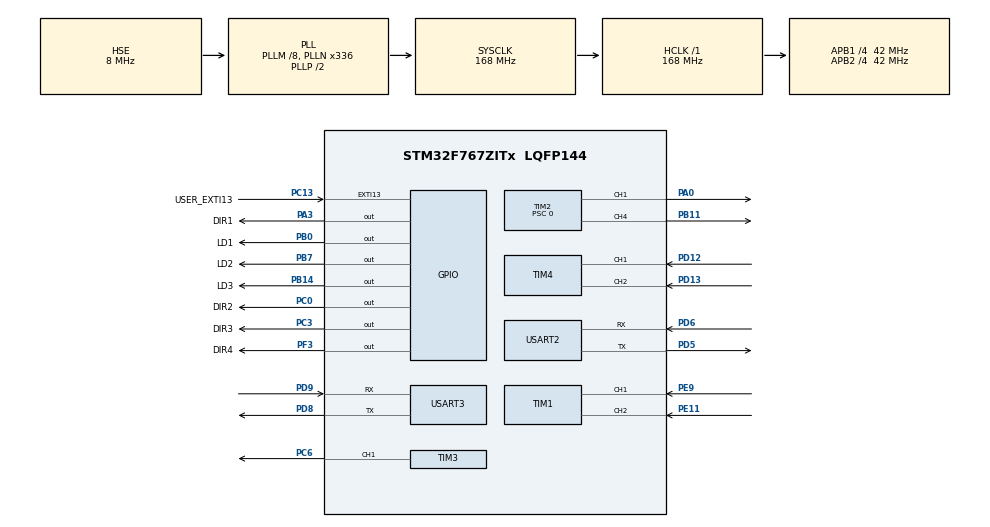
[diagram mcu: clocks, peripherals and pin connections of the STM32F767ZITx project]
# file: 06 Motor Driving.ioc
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CORTEX_M7.default_mode_Activation=1
Mcu.Family=STM32F7
Mcu.Name=STM32F767ZITx
Mcu.Package=LQFP144
NVIC.EXTI15_10_IRQn=true\:0\:0\:false\:true\:true\:1\:true\:true\:true
NVIC.PriorityGroup=NVIC_PRIORITYGROUP_4
NVIC.TIM6_DAC_IRQn=true\:0\:0\:false\:false\:true\:true\:true\:true
NVIC.USART2_IRQn=true\:0\:0\:false\:false\:true\:true\:true\:true
NVIC.USART3_IRQn=true\:0\:0\:false\:false\:true\:true\:true\:true
PA0/WKUP.Signal=S_TIM2_CH1_ETR
PA3.GPIO_Label=DIR1
PA3.Signal=GPIO_Output
PB0.GPIO_Label=LD1
PB0.Signal=GPIO_Output
PB11.Signal=S_TIM2_CH4
PB14.GPIO_Label=LD3
PB14.Signal=GPIO_Output
PB7.GPIO_Label=LD2
PB7.Signal=GPIO_Output
PC0.GPIO_Label=DIR2
PC0.Signal=GPIO_Output
PC13.GPIO_Label=USER_EXTI13
PC13.Signal=GPXTI13
PC3.GPIO_Label=DIR3
PC3.Signal=GPIO_Output
PC6.Signal=S_TIM3_CH1
PD12.Signal=S_TIM4_CH1
PD13.Signal=S_TIM4_CH2
PD5.Mode=Asynchronous
PD5.Signal=USART2_TX
PD6.Mode=Asynchronous
PD6.Signal=USART2_RX
PD8.Mode=Asynchronous
PD8.Signal=USART3_TX
PD9.Mode=Asynchronous
PD9.Signal=USART3_RX
PE11.Signal=S_TIM1_CH2
PE9.Signal=S_TIM1_CH1
PF3.GPIO_Label=DIR4
PF3.Signal=GPIO_Output
PH0/OSC_IN.Mode=HSE-External-Oscillator
PH0/OSC_IN.Signal=RCC_OSC_IN
PH1/OSC_OUT.Mode=HSE-External-Oscillator
PH1/OSC_OUT.Signal=RCC_OSC_OUT
ProjectManager.HeapSize=0x200
ProjectManager.StackSize=0x400
ProjectManager.TargetToolchain=STM32CubeIDE
RCC.AHBFreq_Value=168000000
RCC.APB1CLKDivider=RCC_HCLK_DIV4
RCC.APB1Freq_Value=42000000
RCC.APB1TimFreq_Value=84000000
RCC.APB2CLKDivider=RCC_HCLK_DIV4
RCC.APB2Freq_Value=42000000
RCC.APB2TimFreq_Value=84000000
RCC.CortexFreq_Value=168000000
RCC.HCLKFreq_Value=168000000
RCC.HSE_VALUE=8000000
RCC.HSI_VALUE=16000000
RCC.LSE_VALUE=32768
RCC.PLLM=8
RCC.PLLN=336
RCC.PLLSourceVirtual=RCC_PLLSOURCE_HSE
RCC.SYSCLKFreq_VALUE=168000000
RCC.SYSCLKSource=RCC_SYSCLKSOURCE_PLLCLK
RCC.USBFreq_Value=168000000
RCC.VCOOutputFreq_Value=336000000
SH.S_TIM1_CH1.0=TIM1_CH1,Encoder_Interface
SH.S_TIM1_CH2.0=TIM1_CH2,Encoder_Interface
SH.S_TIM2_CH1_ETR.0=TIM2_CH1,PWM Generation1 CH1
SH.S_TIM2_CH4.0=TIM2_CH4,PWM Generation4 CH4
SH.S_TIM3_CH1.0=TIM3_CH1,PWM Generation1 CH1
SH.S_TIM4_CH1.0=TIM4_CH1,Encoder_Interface
SH.S_TIM4_CH2.0=TIM4_CH2,Encoder_Interface
TIM1.EncoderMode=TIM_ENCODERMODE_TI12
TIM1.IC1Filter=6
TIM1.IC2Filter=6
TIM2.Channel-PWM\ Generation1\ CH1=TIM_CHANNEL_1
TIM2.Channel-PWM\ Generation4\ CH4=TIM_CHANNEL_4
TIM2.Period=4199
TIM2.Prescaler=0
TIM2.Pulse-PWM\ Generation1\ CH1=2099
TIM2.Pulse-PWM\ Generation4\ CH4=2099
TIM3.Channel-PWM\ Generation1\ CH1=TIM_CHANNEL_1
TIM3.Period=999
TIM3.Prescaler=83
TIM3.Pulse-PWM\ Generation1\ CH1=499
TIM4.EncoderMode=TIM_ENCODERMODE_TI12
TIM4.IC1Filter=6
TIM4.IC2Filter=6
TIM6.Period=100-1
TIM6.Prescaler=8400-1
USART2.VirtualMode-Asynchronous=VM_ASYNC
USART3.VirtualMode-Asynchronous=VM_ASYNC
VP_TIM2_VS_ClockSourceINT.Mode=Internal
VP_TIM3_VS_ClockSourceINT.Mode=Internal
VP_TIM6_VS_ClockSourceINT.Mode=Enable_Timer
board=custom

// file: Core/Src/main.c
/* USER CODE BEGIN Header */
/**
  ******************************************************************************
  * @file           : main.c
  * @brief          : Main program body
  ******************************************************************************
  * @attention
  *
  * Copyright (c) 2025 STMicroelectronics.
  * All rights reserved.
  *
  * This software is licensed under terms that can be found in the LICENSE file
  * in the root directory of this software component.
  * If no LICENSE file comes with this software, it is provided AS-IS.
  *
  ******************************************************************************
  */
#include <stdbool.h>
/* USER CODE END Header */
#include "main.h"

/* USER CODE BEGIN Includes */
#include <stdio.h>   // snprintf, sscanf
#include <string.h>  // strlen
/* USER CODE END Includes */

/* USER CODE BEGIN PD */

#define TIM2_PWM_MAX 4199U  // 20kHz @ 84MHz
#define TIM3_PWM_MAX  49U   // 20kHz @ 1MHz (PSC=83)  (브러시를 20kHz로 올릴 경우)
 #define TxBufferSize   (countof(TxBuffer) - 1)
 #define TxBufferSize_10 (countof(TxBuffer_10) - 1)
 #define RxBufferSize   0xFF
 #define countof(a)   (sizeof(a) / sizeof(*(a)))

/* USER CODE END PD */

TIM_HandleTypeDef htim1;
TIM_HandleTypeDef htim2;
TIM_HandleTypeDef htim3;
TIM_HandleTypeDef htim4;
TIM_HandleTypeDef htim6;

UART_HandleTypeDef huart2;
UART_HandleTypeDef huart3;

/* USER CODE BEGIN PV */
char uart_buffer[64];
uint8_t uart_index = 0;
char uart2_buffer[64];
uint8_t uart2_index = 0;

uint8_t uart2_rx_byte = 0;  // ✅ 추가: UART2 인터럽트 수신용 변수

volatile bool stop_requested = false; // 인터럽트 플래그
volatile bool motor_enabled = false;
volatile bool pulse_requested = false;

uint8_t TxBuffer[] = "\n\rUART Ready for communication!!\n\r\n\r";
uint8_t TxBuffer_10[] = "\n\r A Message from HAL_UART_TxCpltCallback() !!\n\r\n\r";
uint8_t RxBuffer[RxBufferSize];

uint16_t current_duty = 0;
GPIO_PinState current_dir = GPIO_PIN_RESET;

void blink_all_leds_twice(void);
void sequential_leds(void);
void driveDualMotor(uint16_t left_duty, GPIO_PinState left_dir,
                    uint16_t right_duty, GPIO_PinState right_dir,
                    uint32_t duration_ms);
#define BRUSH_DIR_PORT GPIOC
#define BRUSH_DIR_PIN  GPIO_PIN_3

#define VACUUM_DIR_PORT GPIOF
#define VACUUM_DIR_PIN  GPIO_PIN_3

#define BRUSH_PWM_CHANNEL TIM_CHANNEL_1  // PC6 (TIM3_CH1)
#define VACUUM_PWM_CHANNEL TIM_CHANNEL_2 // PC7 (TIM3_CH2)

bool extra_motor_on = false;  // USER 버튼으로 on/off 상태 저장

// === Cleaning toggle state (토글 전용) ===
static volatile bool cleaning_toggle_req = false;   // ISR에서 set, 메인루프에서 처리
static bool vacuum_is_on = false;                   // 현재 진공모터 상태
static uint32_t last_clean_toggle_ms = 0;           // 마지막 토글 시각
#define CLEAN_TOGGLE_COOLDOWN_MS 1500               // 연속 토글 최소 간격 (ms)

// --- Slew & Deadband config (모터 2채널 각각 퍼센트 기반) ---
static volatile int g_tgt_pct_L = 0;   // 목표 duty [%] (0~100)
static volatile int g_tgt_pct_R = 0;   // 목표 duty [%]
static volatile GPIO_PinState g_tgt_dir_L = GPIO_PIN_RESET; // 목표 방향
static volatile GPIO_PinState g_tgt_dir_R = GPIO_PIN_RESET;

static volatile int g_cur_pct_L = 0;   // 현재 적용된 duty [%]
static volatile int g_cur_pct_R = 0;
static volatile GPIO_PinState g_cur_dir_L = GPIO_PIN_RESET; // 현재 방향
static volatile GPIO_PinState g_cur_dir_R = GPIO_PIN_RESET;

// 데드밴드: 이 값 미만은 0으로 처리(정지). 필요시 전/후진 분리 가능.
#define DEAD_MIN_PCT  0      // 예: 8% 미만은 힘이 안 실리는 영역

// 슬루(변화율) 제한: 한 틱(10ms)마다 변화 가능한 최대 퍼센트
#define SLEW_PCT_PER_TICK  100 // 예: 2%/tick → 200ms에 40% 변화

// 내부용: % → CCR 변환
static inline uint16_t pct_to_ccr_tim2(int pct){
  if(pct<0)pct=0; if(pct>100)pct=100;
  return (uint16_t)((TIM2_PWM_MAX * pct)/100);
}
/* USER CODE END PV */

void SystemClock_Config(void);
static void MPU_Config(void);
static void MX_GPIO_Init(void);
static void MX_TIM2_Init(void);
static void MX_USART3_UART_Init(void);
static void MX_USART2_UART_Init(void);
static void MX_TIM3_Init(void);
static void MX_TIM1_Init(void);
static void MX_TIM4_Init(void);
static void MX_TIM6_Init(void);
static void MX_NVIC_Init(void);
/* USER CODE BEGIN PFP */

static void toggleCleaningSystem(void);
void set_motor_targets(int pctL, GPIO_PinState dirL, int pctR, GPIO_PinState dirR);
static int apply_deadband(int pct);
static void slew_step(void);  // 10ms마다 한 스텝씩 현재값을 목표로 이동
static void apply_to_timer_ccr_from_current(void);

/* USER CODE END PFP */

/* USER CODE BEGIN 0 */

// 데드밴드 적용: DEAD_MIN_PCT 미만 → 0
static int apply_deadband(int pct){
  if (pct < DEAD_MIN_PCT) return 0;
  if (pct > 100) pct = 100;
  if (pct < 0) pct = 0;
  return pct;
}

// 라즈베리파이 명령 → 목표 저장 (즉시 타이머에 쓰지 않음)
void set_motor_targets(int pctL, GPIO_PinState dirL, int pctR, GPIO_PinState dirR)
{
  if (pctL < 0) pctL = 0; if (pctL > 100) pctL = 100;
  if (pctR < 0) pctR = 0; if (pctR > 100) pctR = 100;

  g_tgt_pct_L  = pctL;
  g_tgt_pct_R  = pctR;
  g_tgt_dir_L  = dirL;
  g_tgt_dir_R  = dirR;
}

// 한 틱(10ms)마다 현재[%]를 목표[%]로 이동 (슬루 제한 + 데드밴드)
static void slew_step(void)
{
  // 방향 변화가 있으면, 먼저 현재 듀티를 0으로 내려 안전하게 방향 전환
  if (g_cur_dir_L != g_tgt_dir_L && g_cur_pct_L > 0) {
    int dec = (g_cur_pct_L > SLEW_PCT_PER_TICK) ? SLEW_PCT_PER_TICK : g_cur_pct_L;
    g_cur_pct_L -= dec;
  } else {
    // 동일 방향: 목표로 접근
    int deltaL = g_tgt_pct_L - g_cur_pct_L;
    if      (deltaL >  SLEW_PCT_PER_TICK) g_cur_pct_L += SLEW_PCT_PER_TICK;
    else if (deltaL < -SLEW_PCT_PER_TICK) g_cur_pct_L -= SLEW_PCT_PER_TICK;
    else                                  g_cur_pct_L  = g_tgt_pct_L;
    // 방향 동기
    if (g_cur_pct_L == 0) g_cur_dir_L = g_tgt_dir_L;
    else                  g_cur_dir_L = g_tgt_dir_L;
  }

  if (g_cur_dir_R != g_tgt_dir_R && g_cur_pct_R > 0) {
    int dec = (g_cur_pct_R > SLEW_PCT_PER_TICK) ? SLEW_PCT_PER_TICK : g_cur_pct_R;
    g_cur_pct_R -= dec;
  } else {
    int deltaR = g_tgt_pct_R - g_cur_pct_R;
    if      (deltaR >  SLEW_PCT_PER_TICK) g_cur_pct_R += SLEW_PCT_PER_TICK;
    else if (deltaR < -SLEW_PCT_PER_TICK) g_cur_pct_R -= SLEW_PCT_PER_TICK;
    else                                  g_cur_pct_R  = g_tgt_pct_R;
    if (g_cur_pct_R == 0) g_cur_dir_R = g_tgt_dir_R;
    else                  g_cur_dir_R = g_tgt_dir_R;
  }

  // 데드밴드 보정
  g_cur_pct_L = apply_deadband(g_cur_pct_L);
  g_cur_pct_R = apply_deadband(g_cur_pct_R);
}

// 현재[%]와 방향을 실제 타이머 CCR/핀에 반영
static void apply_to_timer_ccr_from_current(void)
{
  // 방향핀
	HAL_GPIO_WritePin(DIR1_GPIO_Port, DIR1_Pin, !g_cur_dir_L); // Left DIR
	HAL_GPIO_WritePin(DIR2_GPIO_Port, DIR2_Pin, !g_cur_dir_R); // Right DIR

  // CCR
  __HAL_TIM_SET_COMPARE(&htim2, TIM_CHANNEL_1, pct_to_ccr_tim2(g_cur_pct_L));
  __HAL_TIM_SET_COMPARE(&htim2, TIM_CHANNEL_4, pct_to_ccr_tim2(g_cur_pct_R));
}

// 퍼센트 기반 블로킹 구동: 목표 설정 후 duration_ms 기다림
static void driveDualMotorPct(int pctL, GPIO_PinState dirL,
                              int pctR, GPIO_PinState dirR,
                              uint32_t duration_ms)
{
  set_motor_targets(pctL, dirL, pctR, dirR);
  uint32_t t0 = HAL_GetTick();
  while ((HAL_GetTick() - t0) < duration_ms) {
    if (stop_requested) break;
    HAL_Delay(5);
  }
  // 필요시 정지:
  // set_motor_targets(0, dirL, 0, dirR);
}
/* USER CODE END 0 */

int main(void)
{

  /* MPU Configuration--------------------------------------------------------*/
  MPU_Config();

  /* MCU Configuration--------------------------------------------------------*/

  /* Reset of all peripherals, Initializes the Flash interface and the Systick. */
  HAL_Init();

  /* Configure the system clock */
  SystemClock_Config();

  /* Initialize all configured peripherals */
  MX_GPIO_Init();
  MX_TIM2_Init();
  MX_USART3_UART_Init();
  MX_USART2_UART_Init();
  MX_TIM3_Init();
  MX_TIM1_Init();
  MX_TIM4_Init();
  MX_TIM6_Init();

  /* Initialize interrupts */
  MX_NVIC_Init();
  /* USER CODE BEGIN 2 */
  HAL_UART_Transmit(&huart3, (uint8_t*)"OK\r\n", 4, 100);

  // UART2 통신 확인 (라즈베리파이 ↔ STM32)
  HAL_UART_Transmit(&huart3, (uint8_t*)"UART2 RX echo mode start...\r\n", 30, 100);

  uint32_t last_tx_time = HAL_GetTick();

  // 기존 UART3 메시지 전송
  HAL_UART_Transmit(&huart3, (uint8_t*)TxBuffer, TxBufferSize , 0xFFFF);

  // PWM 초기화
  __HAL_TIM_SET_COMPARE(&htim2, TIM_CHANNEL_1, 0);
  __HAL_TIM_SET_COMPARE(&htim2, TIM_CHANNEL_4, 0);
  __HAL_TIM_SET_COMPARE(&htim3, TIM_CHANNEL_1, 0);  // PC6 - 브러쉬
  HAL_TIM_PWM_Start(&htim2, TIM_CHANNEL_1);
  HAL_TIM_PWM_Start(&htim2, TIM_CHANNEL_4);
  HAL_TIM_PWM_Start(&htim3, TIM_CHANNEL_1); // PC6

  // UART2 인터럽트 수신 시작
  HAL_UART_Receive_IT(&huart2, &uart2_rx_byte, 1);
  // UART3 수신 인터럽트 시작 (유지)
  HAL_UART_Receive_IT(&huart3, RxBuffer, 1);

  HAL_TIM_Base_Start_IT(&htim6);

  HAL_NVIC_SetPriority(TIM6_DAC_IRQn, 1, 0);
  HAL_NVIC_EnableIRQ(TIM6_DAC_IRQn);

  /* USER CODE END 2 */

  /* Infinite loop */
  while (1)
  {

    /* USER CODE BEGIN 3 */

	 	      // UART2 TX 송신 처리 (STM32 → 라즈베리파이)
	 	      if (HAL_GetTick() - last_tx_time >= 1000)  // 1초마다
	 	      {
	 	          const char* msg = "STM32 TX Test\r\n";
	 	          HAL_UART_Transmit(&huart2, (uint8_t*)msg, strlen(msg), 100);
	 	          //HAL_UART_Transmit(&huart3, (uint8_t*)"UART2 TX sent\r\n", 16, 100);  // 디버깅 출력
	 	          last_tx_time = HAL_GetTick();  // 타이머 갱신
	 	      }

	 	      sequential_leds();  // LED 점멸
	 	     // 청소 토글 요청 처리 (있을 때만 1회 실행)
	 	     if (cleaning_toggle_req) {
	 	    	cleaning_toggle_req = false;
	 	    	toggleCleaningSystem();
	 	     }
	 	     if (pulse_requested)
	 	     {
	 	         pulse_requested = false;
	 	         HAL_GPIO_WritePin(DIR4_GPIO_Port, DIR4_Pin, GPIO_PIN_SET);
	 	         HAL_Delay(100);  // 충분한 딱딱 지속 시간
	 	         HAL_GPIO_WritePin(DIR4_GPIO_Port, DIR4_Pin, GPIO_PIN_RESET);
	 	     }

	 	      if (stop_requested)
	 	      {
	 	          slowStopMotor(current_duty, current_dir);
	 	          stop_requested = false;
	 	      }

	 	     if (motor_enabled && !stop_requested)
	 	     {
	 	    	HAL_TIM_PWM_Start(&htim2, TIM_CHANNEL_1);
	 	    	HAL_TIM_PWM_Start(&htim2, TIM_CHANNEL_4);

	 	    	HAL_Delay(50);

	 	    	/*
	 	    	// [1] 전진 가속 테스트 (0% → 30%)
	 	    	for (int pct = 0; pct <= 30; pct += 5) {
	 	    	    driveDualMotorPct(pct, GPIO_PIN_SET,   // 왼쪽 전진
	 	    	                      pct, GPIO_PIN_SET,   // 오른쪽 전진
	 	    	                      500);
	 	    	}

	 	    	// [2] 좌/우 곡선 주행 (60% vs 15%)
	 	    	driveDualMotorPct(60, GPIO_PIN_SET,  // 좌 60%
	 	    	                  15, GPIO_PIN_SET,  // 우 15%  → 좌로 커브
	 	    	                  2000);
	 	    	driveDualMotorPct(15, GPIO_PIN_SET,  // 좌 15%
	 	    	                  60, GPIO_PIN_SET,  // 우 60%  → 우로 커브
	 	    	                  2000);

	 	    	// [3] 전진 증가/감소 (0→30→0%)
	 	    	for (int pct = 0; pct <= 30; pct += 10) {
	 	    	    driveDualMotorPct(pct, GPIO_PIN_SET,
	 	    	                      pct, GPIO_PIN_SET,
	 	    	                      1000);
	 	    	}
	 	    	for (int pct = 20; pct >= 0; pct -= 10) {
	 	    	    driveDualMotorPct(pct, GPIO_PIN_SET,
	 	    	                      pct, GPIO_PIN_SET,
	 	    	                      500);
	 	    	}

	 	    	HAL_Delay(1000);

	 	    	// [4] 후진 증가/감소 (0→30→0%)
	 	    	for (int pct = 0; pct <= 30; pct += 10) {
	 	    	    driveDualMotorPct(pct, GPIO_PIN_RESET,   // 후진
	 	    	                      pct, GPIO_PIN_RESET,
	 	    	                      500);
	 	    	}
	 	    	for (int pct = 20; pct >= 0; pct -= 10) {
	 	    	    driveDualMotorPct(pct, GPIO_PIN_RESET,
	 	    	                      pct, GPIO_PIN_RESET,
	 	    	                      250);
	 	    	}

	 	    	// [5] 완전 정지
	 	    	driveDualMotorPct(0, GPIO_PIN_SET,
	 	    	                  0, GPIO_PIN_SET,
	 	    	                  1000);

	 	    	// [6] 제자리 회전(반시계) : 좌 후진 / 우 전진
	 	    	for (int pct = 0; pct <= 30; pct += 10) {
	 	    	    driveDualMotorPct(pct, GPIO_PIN_RESET,   // 좌 후진
	 	    	                      pct, GPIO_PIN_SET,     // 우 전진
	 	    	                      1000);
	 	    	}
	 	    	driveDualMotorPct(40, GPIO_PIN_RESET,
	 	    	                  40, GPIO_PIN_SET,
	 	    	                  5000);
	 	    	for (int pct = 30; pct >= 0; pct -= 10) {
	 	    	    driveDualMotorPct(pct, GPIO_PIN_RESET,
	 	    	                      pct, GPIO_PIN_SET,
	 	    	                      500);
	 	    	}

	 	    	HAL_Delay(1000);

	 	    	// [7] 제자리 회전(시계) : 좌 전진 / 우 후진
	 	    	for (int pct = 0; pct <= 30; pct += 10) {
	 	    	    driveDualMotorPct(pct, GPIO_PIN_SET,     // 좌 전진
	 	    	                      pct, GPIO_PIN_RESET,   // 우 후진
	 	    	                      500);
	 	    	}
	 	    	driveDualMotorPct(50, GPIO_PIN_SET,
	 	    	                  50, GPIO_PIN_RESET,
	 	    	                  5000);
	 	    	for (int pct = 40; pct >= 0; pct -= 10) {
	 	    	    driveDualMotorPct(pct, GPIO_PIN_SET,
	 	    	                      pct, GPIO_PIN_RESET,
	 	    	                      250);
	 	    	}

	 	    	// [8] 완전 정지
	 	    	driveDualMotorPct(0, GPIO_PIN_SET,
	 	    	                  0, GPIO_PIN_SET,
	 	    	                  1000);
 */
	 	    	// [9] 원(반시계) (좌 느린 후진 / 우 빠른 전진)
	 	    	for (int left = 20; left <= 30; left += 2) {
	 	    	    for (int i = 0; i < 5; i++) {
	 	    	        driveDualMotorPct(left, GPIO_PIN_SET,   // 좌 전진 left%
	 	    	                          35,   GPIO_PIN_SET,   // 우 전진 35%
	 	    	                          3000);
	 	    	    }
	 	    	    driveDualMotorPct(0, GPIO_PIN_SET, 0, GPIO_PIN_SET, 500); // 정지 유지
	 	    	}

	 	    	// [10] 정지 유지
	 	    	driveDualMotorPct(0, GPIO_PIN_SET,
	 	    	                  0, GPIO_PIN_SET,
	 	    	                  1000);

	 	     }
	 	      else
	 	      {
	 	          HAL_Delay(100);
	 	      }

  }
  /* USER CODE END 3 */
}

void SystemClock_Config(void)
{
  RCC_OscInitTypeDef RCC_OscInitStruct = {0};
  RCC_ClkInitTypeDef RCC_ClkInitStruct = {0};

  /** Configure the main internal regulator output voltage
  */
  __HAL_RCC_PWR_CLK_ENABLE();
  __HAL_PWR_VOLTAGESCALING_CONFIG(PWR_REGULATOR_VOLTAGE_SCALE2);

  /** Initializes the RCC Oscillators according to the specified parameters
  * in the RCC_OscInitTypeDef structure.
  */
  RCC_OscInitStruct.OscillatorType = RCC_OSCILLATORTYPE_HSE;
  RCC_OscInitStruct.HSEState = RCC_HSE_ON;
  RCC_OscInitStruct.PLL.PLLState = RCC_PLL_ON;
  RCC_OscInitStruct.PLL.PLLSource = RCC_PLLSOURCE_HSE;
  RCC_OscInitStruct.PLL.PLLM = 8;
  RCC_OscInitStruct.PLL.PLLN = 336;
  RCC_OscInitStruct.PLL.PLLP = RCC_PLLP_DIV2;
  RCC_OscInitStruct.PLL.PLLQ = 2;
  RCC_OscInitStruct.PLL.PLLR = 2;
  if (HAL_RCC_OscConfig(&RCC_OscInitStruct) != HAL_OK)
  {
    Error_Handler();
  }

  /** Initializes the CPU, AHB and APB buses clocks
  */
  RCC_ClkInitStruct.ClockType = RCC_CLOCKTYPE_HCLK|RCC_CLOCKTYPE_SYSCLK
                              |RCC_CLOCKTYPE_PCLK1|RCC_CLOCKTYPE_PCLK2;
  RCC_ClkInitStruct.SYSCLKSource = RCC_SYSCLKSOURCE_PLLCLK;
  RCC_ClkInitStruct.AHBCLKDivider = RCC_SYSCLK_DIV1;
  RCC_ClkInitStruct.APB1CLKDivider = RCC_HCLK_DIV4;
  RCC_ClkInitStruct.APB2CLKDivider = RCC_HCLK_DIV4;

  if (HAL_RCC_ClockConfig(&RCC_ClkInitStruct, FLASH_LATENCY_5) != HAL_OK)
  {
    Error_Handler();
  }
}

/**
  * @brief NVIC Configuration.
  * @retval None
  */
static void MX_NVIC_Init(void)
{
  /* EXTI15_10_IRQn interrupt configuration */
  HAL_NVIC_SetPriority(EXTI15_10_IRQn, 0, 0);
  HAL_NVIC_EnableIRQ(EXTI15_10_IRQn);
}

static void MX_TIM1_Init(void)
{

  TIM_Encoder_InitTypeDef sConfig = {0};
  TIM_MasterConfigTypeDef sMasterConfig = {0};

  htim1.Instance = TIM1;
  htim1.Init.Prescaler = 0;
  htim1.Init.CounterMode = TIM_COUNTERMODE_UP;
  htim1.Init.Period = 65535;
  htim1.Init.ClockDivision = TIM_CLOCKDIVISION_DIV1;
  htim1.Init.RepetitionCounter = 0;
  htim1.Init.AutoReloadPreload = TIM_AUTORELOAD_PRELOAD_DISABLE;
  sConfig.EncoderMode = TIM_ENCODERMODE_TI12;
  sConfig.IC1Polarity = TIM_ICPOLARITY_RISING;
  sConfig.IC1Selection = TIM_ICSELECTION_DIRECTTI;
  sConfig.IC1Prescaler = TIM_ICPSC_DIV1;
  sConfig.IC1Filter = 6;
  sConfig.IC2Polarity = TIM_ICPOLARITY_RISING;
  sConfig.IC2Selection = TIM_ICSELECTION_DIRECTTI;
  sConfig.IC2Prescaler = TIM_ICPSC_DIV1;
  sConfig.IC2Filter = 6;
  if (HAL_TIM_Encoder_Init(&htim1, &sConfig) != HAL_OK)
  {
    Error_Handler();
  }
  sMasterConfig.MasterOutputTrigger = TIM_TRGO_RESET;
  sMasterConfig.MasterOutputTrigger2 = TIM_TRGO2_RESET;
  sMasterConfig.MasterSlaveMode = TIM_MASTERSLAVEMODE_DISABLE;
  if (HAL_TIMEx_MasterConfigSynchronization(&htim1, &sMasterConfig) != HAL_OK)
  {
    Error_Handler();
  }

}

static void MX_TIM2_Init(void)
{

  TIM_ClockConfigTypeDef sClockSourceConfig = {0};
  TIM_MasterConfigTypeDef sMasterConfig = {0};
  TIM_OC_InitTypeDef sConfigOC = {0};

  htim2.Instance = TIM2;
  htim2.Init.Prescaler = 0;
  htim2.Init.CounterMode = TIM_COUNTERMODE_UP;
  htim2.Init.Period = 4199;
  htim2.Init.ClockDivision = TIM_CLOCKDIVISION_DIV1;
  htim2.Init.AutoReloadPreload = TIM_AUTORELOAD_PRELOAD_DISABLE;
  if (HAL_TIM_Base_Init(&htim2) != HAL_OK)
  {
    Error_Handler();
  }
  sClockSourceConfig.ClockSource = TIM_CLOCKSOURCE_INTERNAL;
  if (HAL_TIM_ConfigClockSource(&htim2, &sClockSourceConfig) != HAL_OK)
  {
    Error_Handler();
  }
  if (HAL_TIM_PWM_Init(&htim2) != HAL_OK)
  {
    Error_Handler();
  }
  sMasterConfig.MasterOutputTrigger = TIM_TRGO_RESET;
  sMasterConfig.MasterSlaveMode = TIM_MASTERSLAVEMODE_DISABLE;
  if (HAL_TIMEx_MasterConfigSynchronization(&htim2, &sMasterConfig) != HAL_OK)
  {
    Error_Handler();
  }
  sConfigOC.OCMode = TIM_OCMODE_PWM1;
  sConfigOC.Pulse = 2099;
  sConfigOC.OCPolarity = TIM_OCPOLARITY_HIGH;
  sConfigOC.OCFastMode = TIM_OCFAST_DISABLE;
  if (HAL_TIM_PWM_ConfigChannel(&htim2, &sConfigOC, TIM_CHANNEL_1) != HAL_OK)
  {
    Error_Handler();
  }
  if (HAL_TIM_PWM_ConfigChannel(&htim2, &sConfigOC, TIM_CHANNEL_4) != HAL_OK)
  {
    Error_Handler();
  }
  HAL_TIM_MspPostInit(&htim2);

}

static void MX_TIM3_Init(void)
{

  TIM_ClockConfigTypeDef sClockSourceConfig = {0};
  TIM_MasterConfigTypeDef sMasterConfig = {0};
  TIM_OC_InitTypeDef sConfigOC = {0};

  htim3.Instance = TIM3;
  htim3.Init.Prescaler = 83;
  htim3.Init.CounterMode = TIM_COUNTERMODE_UP;
  htim3.Init.Period = 999;
  htim3.Init.ClockDivision = TIM_CLOCKDIVISION_DIV1;
  htim3.Init.AutoReloadPreload = TIM_AUTORELOAD_PRELOAD_DISABLE;
  if (HAL_TIM_Base_Init(&htim3) != HAL_OK)
  {
    Error_Handler();
  }
  sClockSourceConfig.ClockSource = TIM_CLOCKSOURCE_INTERNAL;
  if (HAL_TIM_ConfigClockSource(&htim3, &sClockSourceConfig) != HAL_OK)
  {
    Error_Handler();
  }
  if (HAL_TIM_PWM_Init(&htim3) != HAL_OK)
  {
    Error_Handler();
  }
  sMasterConfig.MasterOutputTrigger = TIM_TRGO_RESET;
  sMasterConfig.MasterSlaveMode = TIM_MASTERSLAVEMODE_DISABLE;
  if (HAL_TIMEx_MasterConfigSynchronization(&htim3, &sMasterConfig) != HAL_OK)
  {
    Error_Handler();
  }
  sConfigOC.OCMode = TIM_OCMODE_PWM1;
  sConfigOC.Pulse = 499;
  sConfigOC.OCPolarity = TIM_OCPOLARITY_HIGH;
  sConfigOC.OCFastMode = TIM_OCFAST_DISABLE;
  if (HAL_TIM_PWM_ConfigChannel(&htim3, &sConfigOC, TIM_CHANNEL_1) != HAL_OK)
  {
    Error_Handler();
  }
  HAL_TIM_MspPostInit(&htim3);

}

static void MX_TIM4_Init(void)
{

  TIM_Encoder_InitTypeDef sConfig = {0};
  TIM_MasterConfigTypeDef sMasterConfig = {0};

  htim4.Instance = TIM4;
  htim4.Init.Prescaler = 0;
  htim4.Init.CounterMode = TIM_COUNTERMODE_UP;
  htim4.Init.Period = 65535;
  htim4.Init.ClockDivision = TIM_CLOCKDIVISION_DIV1;
  htim4.Init.AutoReloadPreload = TIM_AUTORELOAD_PRELOAD_DISABLE;
  sConfig.EncoderMode = TIM_ENCODERMODE_TI12;
  sConfig.IC1Polarity = TIM_ICPOLARITY_RISING;
  sConfig.IC1Selection = TIM_ICSELECTION_DIRECTTI;
  sConfig.IC1Prescaler = TIM_ICPSC_DIV1;
  sConfig.IC1Filter = 6;
  sConfig.IC2Polarity = TIM_ICPOLARITY_RISING;
  sConfig.IC2Selection = TIM_ICSELECTION_DIRECTTI;
  sConfig.IC2Prescaler = TIM_ICPSC_DIV1;
  sConfig.IC2Filter = 6;
  if (HAL_TIM_Encoder_Init(&htim4, &sConfig) != HAL_OK)
  {
    Error_Handler();
  }
  sMasterConfig.MasterOutputTrigger = TIM_TRGO_RESET;
  sMasterConfig.MasterSlaveMode = TIM_MASTERSLAVEMODE_DISABLE;
  if (HAL_TIMEx_MasterConfigSynchronization(&htim4, &sMasterConfig) != HAL_OK)
  {
    Error_Handler();
  }

}

static void MX_TIM6_Init(void)
{

  TIM_MasterConfigTypeDef sMasterConfig = {0};

  htim6.Instance = TIM6;
  htim6.Init.Prescaler = 8400-1;
  htim6.Init.CounterMode = TIM_COUNTERMODE_UP;
  htim6.Init.Period = 100-1;
  htim6.Init.AutoReloadPreload = TIM_AUTORELOAD_PRELOAD_DISABLE;
  if (HAL_TIM_Base_Init(&htim6) != HAL_OK)
  {
    Error_Handler();
  }
  sMasterConfig.MasterOutputTrigger = TIM_TRGO_RESET;
  sMasterConfig.MasterSlaveMode = TIM_MASTERSLAVEMODE_DISABLE;
  if (HAL_TIMEx_MasterConfigSynchronization(&htim6, &sMasterConfig) != HAL_OK)
  {
    Error_Handler();
  }

}

static void MX_USART2_UART_Init(void)
{

  huart2.Instance = USART2;
  huart2.Init.BaudRate = 115200;
  huart2.Init.WordLength = UART_WORDLENGTH_8B;
  huart2.Init.StopBits = UART_STOPBITS_1;
  huart2.Init.Parity = UART_PARITY_NONE;
  huart2.Init.Mode = UART_MODE_TX_RX;
  huart2.Init.HwFlowCtl = UART_HWCONTROL_NONE;
  huart2.Init.OverSampling = UART_OVERSAMPLING_16;
  huart2.Init.OneBitSampling = UART_ONE_BIT_SAMPLE_DISABLE;
  huart2.AdvancedInit.AdvFeatureInit = UART_ADVFEATURE_NO_INIT;
  if (HAL_UART_Init(&huart2) != HAL_OK)
  {
    Error_Handler();
  }

}

static void MX_USART3_UART_Init(void)
{

  huart3.Instance = USART3;
  huart3.Init.BaudRate = 115200;
  huart3.Init.WordLength = UART_WORDLENGTH_8B;
  huart3.Init.StopBits = UART_STOPBITS_1;
  huart3.Init.Parity = UART_PARITY_NONE;
  huart3.Init.Mode = UART_MODE_TX_RX;
  huart3.Init.HwFlowCtl = UART_HWCONTROL_NONE;
  huart3.Init.OverSampling = UART_OVERSAMPLING_16;
  huart3.Init.OneBitSampling = UART_ONE_BIT_SAMPLE_DISABLE;
  huart3.AdvancedInit.AdvFeatureInit = UART_ADVFEATURE_NO_INIT;
  if (HAL_UART_Init(&huart3) != HAL_OK)
  {
    Error_Handler();
  }

}

static void MX_GPIO_Init(void)
{
  GPIO_InitTypeDef GPIO_InitStruct = {0};

  /* GPIO Ports Clock Enable */
  __HAL_RCC_GPIOC_CLK_ENABLE();
  __HAL_RCC_GPIOF_CLK_ENABLE();
  __HAL_RCC_GPIOH_CLK_ENABLE();
  __HAL_RCC_GPIOA_CLK_ENABLE();
  __HAL_RCC_GPIOB_CLK_ENABLE();
  __HAL_RCC_GPIOE_CLK_ENABLE();
  __HAL_RCC_GPIOD_CLK_ENABLE();

  /*Configure GPIO pin Output Level */
  HAL_GPIO_WritePin(DIR4_GPIO_Port, DIR4_Pin, GPIO_PIN_RESET);

  /*Configure GPIO pin Output Level */
  HAL_GPIO_WritePin(GPIOC, DIR2_Pin|DIR3_Pin, GPIO_PIN_RESET);

  /*Configure GPIO pin Output Level */
  HAL_GPIO_WritePin(DIR1_GPIO_Port, DIR1_Pin, GPIO_PIN_RESET);

  /*Configure GPIO pin Output Level */
  HAL_GPIO_WritePin(GPIOB, LD1_Pin|LD3_Pin|LD2_Pin, GPIO_PIN_RESET);

  /*Configure GPIO pin : USER_EXTI13_Pin */
  GPIO_InitStruct.Pin = USER_EXTI13_Pin;
  GPIO_InitStruct.Mode = GPIO_MODE_IT_RISING;
  GPIO_InitStruct.Pull = GPIO_NOPULL;
  HAL_GPIO_Init(USER_EXTI13_GPIO_Port, &GPIO_InitStruct);

  /*Configure GPIO pin : DIR4_Pin */
  GPIO_InitStruct.Pin = DIR4_Pin;
  GPIO_InitStruct.Mode = GPIO_MODE_OUTPUT_PP;
  GPIO_InitStruct.Pull = GPIO_NOPULL;
  GPIO_InitStruct.Speed = GPIO_SPEED_FREQ_LOW;
  HAL_GPIO_Init(DIR4_GPIO_Port, &GPIO_InitStruct);

  /*Configure GPIO pins : DIR2_Pin DIR3_Pin */
  GPIO_InitStruct.Pin = DIR2_Pin|DIR3_Pin;
  GPIO_InitStruct.Mode = GPIO_MODE_OUTPUT_PP;
  GPIO_InitStruct.Pull = GPIO_NOPULL;
  GPIO_InitStruct.Speed = GPIO_SPEED_FREQ_LOW;
  HAL_GPIO_Init(GPIOC, &GPIO_InitStruct);

  /*Configure GPIO pin : DIR1_Pin */
  GPIO_InitStruct.Pin = DIR1_Pin;
  GPIO_InitStruct.Mode = GPIO_MODE_OUTPUT_PP;
  GPIO_InitStruct.Pull = GPIO_NOPULL;
  GPIO_InitStruct.Speed = GPIO_SPEED_FREQ_LOW;
  HAL_GPIO_Init(DIR1_GPIO_Port, &GPIO_InitStruct);

  /*Configure GPIO pins : LD1_Pin LD3_Pin LD2_Pin */
  GPIO_InitStruct.Pin = LD1_Pin|LD3_Pin|LD2_Pin;
  GPIO_InitStruct.Mode = GPIO_MODE_OUTPUT_PP;
  GPIO_InitStruct.Pull = GPIO_NOPULL;
  GPIO_InitStruct.Speed = GPIO_SPEED_FREQ_LOW;
  HAL_GPIO_Init(GPIOB, &GPIO_InitStruct);

}

/* USER CODE BEGIN 4 */
void HAL_UART_TxCpltCallback(UART_HandleTypeDef *UartHandler)
 {
 HAL_UART_Transmit(UartHandler, (uint8_t*)TxBuffer_10, TxBufferSize_10 , 0xFFFF);
 }

void HAL_UART_RxCpltCallback(UART_HandleTypeDef *huart)
{
    if (huart->Instance == USART2)
    {
        // ✅ 항상 제일 먼저 다음 수신 예약
        HAL_UART_Receive_IT(&huart2, &uart2_rx_byte, 1);

        // ✅ 오버런 오류 확인
        if (__HAL_UART_GET_FLAG(&huart2, UART_FLAG_ORE)) {
            HAL_UART_Transmit(&huart3, (uint8_t*)"USART2 ORE ERROR\r\n", 19, 100);
            __HAL_UART_CLEAR_OREFLAG(&huart2);
        }

        // 수신 버퍼에 저장
        if (uart2_index < sizeof(uart2_buffer) - 1)
        {
            uart2_buffer[uart2_index++] = uart2_rx_byte;
        }

        // 개행 문자 수신 시 파싱 시도
        if (uart2_rx_byte == '\r' || uart2_rx_byte == '\n')
        {
            uart2_buffer[uart2_index] = '\0';

            int d1, p1, d2, p2, clean_flag;
            if (sscanf((char*)uart2_buffer, "%d,%d,%d,%d,%d", &d1, &p1, &d2, &p2, &clean_flag) == 5)
            {
                // 0~500 → 0~100%
                if (p1 < 0) p1 = 0; if (p1 > 500) p1 = 500;
                if (p2 < 0) p2 = 0; if (p2 > 500) p2 = 500;

                int pctL = (p1 * 100) / 500;
                int pctR = (p2 * 100) / 500;

                set_motor_targets(
                    pctL, (d1 ? GPIO_PIN_SET : GPIO_PIN_RESET),
                    pctR, (d2 ? GPIO_PIN_SET : GPIO_PIN_RESET)
                );

                // ✅ 변경된 규칙: 1이면 토글 요청, 0이면 무반응
                if (clean_flag == 1) {
                    cleaning_toggle_req = true;   // 실제 하드웨어 조작은 메인 루프에서
                }

                // 디버그 (원하면 유지)
                char debug[96];
                snprintf(debug, sizeof(debug),
                         "UART2 OK d1=%d p1=%d(%d%%)  d2=%d p2=%d(%d%%)  clean=%d\r\n",
                         d1, p1, pctL, d2, p2, pctR, clean_flag);
                HAL_UART_Transmit(&huart3, (uint8_t*)debug, strlen(debug), 100);
            }
            else {
                HAL_UART_Transmit(&huart3, (uint8_t*)"UART2 Parse Failed\r\n", 20, 100);
            }

            uart2_index = 0;
        }
    }

    // UART3 수신 처리 (그대로 유지)
    if (huart->Instance == USART3)
    {
        HAL_UART_Receive_IT(&huart3, RxBuffer, 1);

        char ch = (char)RxBuffer[0];
        if (ch == '\r') return;
        else if (ch == '\n')
        {
            uart_buffer[uart_index] = '\0';

            // 1) 라즈베리파이에게 단순 ACK (USART2로 회신)
                    const char ack[] = "ACK\r\n";
                    HAL_UART_Transmit(&huart2, (uint8_t*)ack, sizeof(ack)-1, 100);

                    // 2) PC(TeraTerm)에서도 수신 내용 보이도록 브리지(USART3로 복사)
                    //    예: "U2> <원문>" 형태로 찍기
                    char line[96];
                    int n = snprintf(line, sizeof(line), "U2> %s\r\n", uart2_buffer);
                    if (n > 0) HAL_UART_Transmit(&huart3, (uint8_t*)line, (uint16_t)n, 100);

            int dir = 0, speed = 0;
            if (sscanf(uart_buffer, "%d %d", &dir, &speed) == 2)
            {
                if (speed < 0) speed = 0;
                if (speed > 100) speed = 100; // 퍼센트

                GPIO_PinState d = dir ? GPIO_PIN_SET : GPIO_PIN_RESET;

                // ★ 슬루/데드밴드 경유: 목표만 기록
                set_motor_targets(speed, d, speed, d);

                char response[64];
                snprintf(response, sizeof(response), "Parsed: dir=%d speed=%d\r\n", dir, speed);
                HAL_UART_Transmit(&huart3, (uint8_t*)response, strlen(response), 100);
            }
            else
            {
                HAL_UART_Transmit(&huart3, (uint8_t*)"Parse failed\r\n", 14, 100);
            }

            uart_index = 0;
        }
        else
        {
            if (uart_index < sizeof(uart_buffer) - 1)
                uart_buffer[uart_index++] = ch;
        }
    }
}

void sequential_leds(void)
{
  HAL_GPIO_WritePin(LD1_GPIO_Port, LD1_Pin, GPIO_PIN_SET);
  HAL_Delay(300);
  HAL_GPIO_WritePin(LD1_GPIO_Port, LD1_Pin, GPIO_PIN_RESET);

  HAL_GPIO_WritePin(LD2_GPIO_Port, LD2_Pin, GPIO_PIN_SET);
  HAL_Delay(300);
  HAL_GPIO_WritePin(LD2_GPIO_Port, LD2_Pin, GPIO_PIN_RESET);

  HAL_GPIO_WritePin(LD3_GPIO_Port, LD3_Pin, GPIO_PIN_SET);
  HAL_Delay(300);
  HAL_GPIO_WritePin(LD3_GPIO_Port, LD3_Pin, GPIO_PIN_RESET);
}

void driveDualMotor(uint16_t left_duty, GPIO_PinState left_dir,
                    uint16_t right_duty, GPIO_PinState right_dir,
                    uint32_t duration_ms)
{
    // 방향 설정
    HAL_GPIO_WritePin(GPIOA, GPIO_PIN_3, left_dir);   // 왼쪽 모터 DIR
    HAL_GPIO_WritePin(GPIOC, GPIO_PIN_0, right_dir);  // 오른쪽 모터 DIR

    // PWM 속도 설정
    __HAL_TIM_SET_COMPARE(&htim2, TIM_CHANNEL_1, left_duty);   // PA0
    __HAL_TIM_SET_COMPARE(&htim2, TIM_CHANNEL_4, right_duty);  // PB11

    // duration_ms 동안 반복 체크
    uint32_t elapsed = 0;
        while (elapsed < duration_ms)
        {
            if (stop_requested)
            {
                // 평균 듀티를 사용하여 감속
                uint16_t avg_duty = (left_duty + right_duty) / 2;
                slowStopMotor(avg_duty, left_dir);  // 양쪽 같은 방향이라 가정
                break;
            }

            HAL_Delay(10);
            elapsed += 10;
    }

    // 정지 (브레이크 X, coast)
    __HAL_TIM_SET_COMPARE(&htim2, TIM_CHANNEL_1, 0);
    __HAL_TIM_SET_COMPARE(&htim2, TIM_CHANNEL_4, 0);
}
void driveBrushMotor(GPIO_PinState dir, uint16_t duty)
{
    HAL_GPIO_WritePin(BRUSH_DIR_PORT, BRUSH_DIR_PIN, dir);
    __HAL_TIM_SET_COMPARE(&htim3, BRUSH_PWM_CHANNEL, duty);
}
// 브러시/진공 "토글" (on <-> off), 쿨다운 적용
static void toggleCleaningSystem(void)
{
    uint32_t now = HAL_GetTick();
    if (now - last_clean_toggle_ms < CLEAN_TOGGLE_COOLDOWN_MS) {
        return; // 너무 짧은 간격의 중복 토글 방지
    }

    if (!vacuum_is_on) {
        // ON
        driveBrushMotor(GPIO_PIN_SET, 500);  // 브러시 PWM = 500
        pulse_requested = true;              // 진공 릴레이 "딱" ON
        vacuum_is_on = true;
    } else {
        // OFF
        driveBrushMotor(GPIO_PIN_RESET, 0);  // 브러시 OFF
        pulse_requested = true;              // 진공 릴레이 "딱" OFF
        vacuum_is_on = false;
    }
    last_clean_toggle_ms = now;
}
void blink_all_leds_twice(void)
{
  for (int i = 0; i < 2; i++)
  {
    HAL_GPIO_WritePin(LD1_GPIO_Port, LD1_Pin, GPIO_PIN_SET);
    HAL_GPIO_WritePin(LD2_GPIO_Port, LD2_Pin, GPIO_PIN_SET);
    HAL_GPIO_WritePin(LD3_GPIO_Port, LD3_Pin, GPIO_PIN_SET);
    HAL_Delay(300);

    HAL_GPIO_WritePin(LD1_GPIO_Port, LD1_Pin, GPIO_PIN_RESET);
    HAL_GPIO_WritePin(LD2_GPIO_Port, LD2_Pin, GPIO_PIN_RESET);
    HAL_GPIO_WritePin(LD3_GPIO_Port, LD3_Pin, GPIO_PIN_RESET);
    HAL_Delay(300);
  }
}
// Slowly ramp down the motor until it stops
void slowStopMotor(uint16_t current_duty, GPIO_PinState dir)
{
    for (int duty = current_duty; duty >= 0; duty -= 50)
    {
        // 좌우 모터 모두 감속
        __HAL_TIM_SET_COMPARE(&htim2, TIM_CHANNEL_1, duty); // 왼쪽 (PA0)
        __HAL_TIM_SET_COMPARE(&htim2, TIM_CHANNEL_4, duty); // 오른쪽 (PB11)
        HAL_Delay(100);
    }

    // PWM 완전 중단
    HAL_TIM_PWM_Stop(&htim2, TIM_CHANNEL_1);  // 왼쪽
    HAL_TIM_PWM_Stop(&htim2, TIM_CHANNEL_4);  // 오른쪽

    // DIR 핀도 OFF로
    HAL_GPIO_WritePin(GPIOA, GPIO_PIN_3, GPIO_PIN_RESET); // 왼쪽 DIR
    HAL_GPIO_WritePin(GPIOC, GPIO_PIN_0, GPIO_PIN_RESET); // 오른쪽 DIR
}
void HAL_GPIO_EXTI_Callback(uint16_t GPIO_Pin)
{
	if (GPIO_Pin == GPIO_PIN_13)
	{
	    motor_enabled = !motor_enabled;

	    if (!motor_enabled)
	    {
	        stop_requested = true;
	        extra_motor_on = false;

	        driveBrushMotor(GPIO_PIN_RESET, 0);
	    }
	    else
	    {
	        stop_requested = false;
	        extra_motor_on = true;

	        driveBrushMotor(GPIO_PIN_SET, 500);     // 약한 듀티
	    }
	    // ✅ 펄스 요청
	    pulse_requested = true;
	    HAL_GPIO_TogglePin(GPIOB, LD1_Pin); // 디버깅 LED
	}
}

// 10ms 주기(TIM6)마다 호출되어, 슬루/데드밴드 적용 후 CCR 반영
void HAL_TIM_PeriodElapsedCallback(TIM_HandleTypeDef *htim)
{
  if (htim->Instance == TIM6) {
    slew_step();
    apply_to_timer_ccr_from_current();
  }
}
/* USER CODE END 4 */

 /* MPU Configuration */

void MPU_Config(void)
{
  MPU_Region_InitTypeDef MPU_InitStruct = {0};

  /* Disables the MPU */
  HAL_MPU_Disable();

  /** Initializes and configures the Region and the memory to be protected
  */
  MPU_InitStruct.Enable = MPU_REGION_ENABLE;
  MPU_InitStruct.Number = MPU_REGION_NUMBER0;
  MPU_InitStruct.BaseAddress = 0x0;
  MPU_InitStruct.Size = MPU_REGION_SIZE_4GB;
  MPU_InitStruct.SubRegionDisable = 0x87;
  MPU_InitStruct.TypeExtField = MPU_TEX_LEVEL0;
  MPU_InitStruct.AccessPermission = MPU_REGION_NO_ACCESS;
  MPU_InitStruct.DisableExec = MPU_INSTRUCTION_ACCESS_DISABLE;
  MPU_InitStruct.IsShareable = MPU_ACCESS_SHAREABLE;
  MPU_InitStruct.IsCacheable = MPU_ACCESS_NOT_CACHEABLE;
  MPU_InitStruct.IsBufferable = MPU_ACCESS_NOT_BUFFERABLE;

  HAL_MPU_ConfigRegion(&MPU_InitStruct);
  /* Enables the MPU */
  HAL_MPU_Enable(MPU_PRIVILEGED_DEFAULT);

}

void Error_Handler(void)
{
  __disable_irq();
  while (1)
  {
  }
}
